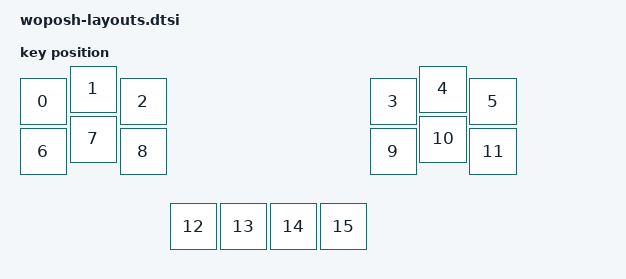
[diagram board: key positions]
// See https://zmk.dev/docs/development/hardware-integration/physical-layouts
// for how to configure this.

#include <physical_layouts.dtsi>

/ {
    default_layout: default_layout {
        compatible = "zmk,physical-layout";
        display-name = "Default Layout";
        transform = <&default_transform>;
        kscan = <&kscan>;

        // Edit this to define the positions and sizes of the keys, or remove it
        // if your keyboard will not support ZMK Studio.
        // https://zmk.dev/docs/development/hardware-integration/physical-layouts#optional-keys-property
        keys  //                     w   h    x    y     rot    rx    ry
            = <&key_physical_attrs 100 100    0   25       0     0     0>
            , <&key_physical_attrs 100 100  100    0       0     0     0>
            , <&key_physical_attrs 100 100  200   25       0     0     0>
            , <&key_physical_attrs 100 100  700   25       0     0     0>
            , <&key_physical_attrs 100 100  800    0       0     0     0>
            , <&key_physical_attrs 100 100  900   25       0     0     0>
            , <&key_physical_attrs 100 100    0  125       0     0     0>
            , <&key_physical_attrs 100 100  100  100       0     0     0>
            , <&key_physical_attrs 100 100  200  125       0     0     0>
            , <&key_physical_attrs 100 100  700  125       0     0     0>
            , <&key_physical_attrs 100 100  800  100       0     0     0>
            , <&key_physical_attrs 100 100  900  125       0     0     0>
            , <&key_physical_attrs 100 100  300  275       0     0     0>
            , <&key_physical_attrs 100 100  400  275       0     0     0>
            , <&key_physical_attrs 100 100  500  275       0     0     0>
            , <&key_physical_attrs 100 100  600  275       0     0     0>
            ;
    };
};

